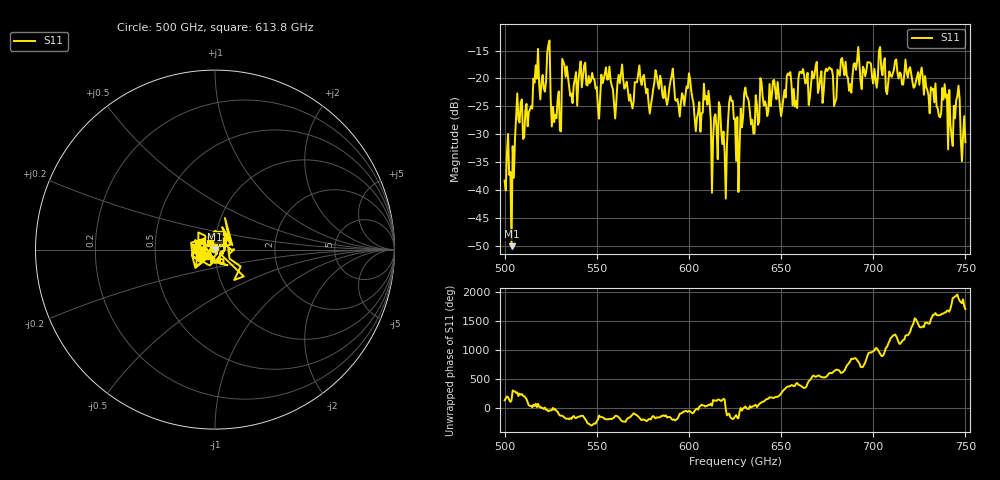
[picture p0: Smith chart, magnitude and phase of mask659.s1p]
!Created with skrf (http://scikit-rf.org).
# GHz S MA R 50.0
!freq magS11 angS11
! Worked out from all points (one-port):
!   401 points, 500 GHz to 750 GHz, reference 50 ohm
!   lowest |S11| = -50.1 dB at 503.8 GHz (marker M1), VSWR 1.01, Z = 49.8 + j0.225 ohm
!   |S11| at or under -10 dB: start of sweep to end of sweep
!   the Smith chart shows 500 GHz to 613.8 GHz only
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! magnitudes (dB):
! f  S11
! 500 GHz  -38.3
! 503.8 GHz  -50.1
! 507.5 GHz  -27.4
! 511.2 GHz  -25.8
! 516.9 GHz  -17.6
! 523.8 GHz  -14.0
! 526.9 GHz  -27.8
! 531.2 GHz  -16.5
! 532.5 GHz  -17.6
! 550.6 GHz  -25.2
! 562.5 GHz  -20.9
! 593.8 GHz  -23.7
! 609.4 GHz  -23.2
! 619.4 GHz  -33.2
! 622.5 GHz  -23.2
! 625 GHz  -27.2
! 626.2 GHz  -26.9
! 631.2 GHz  -23.2
! 634.4 GHz  -27.4
! 640 GHz  -23.3
! 656.2 GHz  -24.9
! 687.5 GHz  -21.0
! 718.8 GHz  -19.8
! 735.6 GHz  -26.7
! 738.8 GHz  -21.0
! 741.9 GHz  -28.3
! 745.6 GHz  -23.2
! 750 GHz  -31.4
